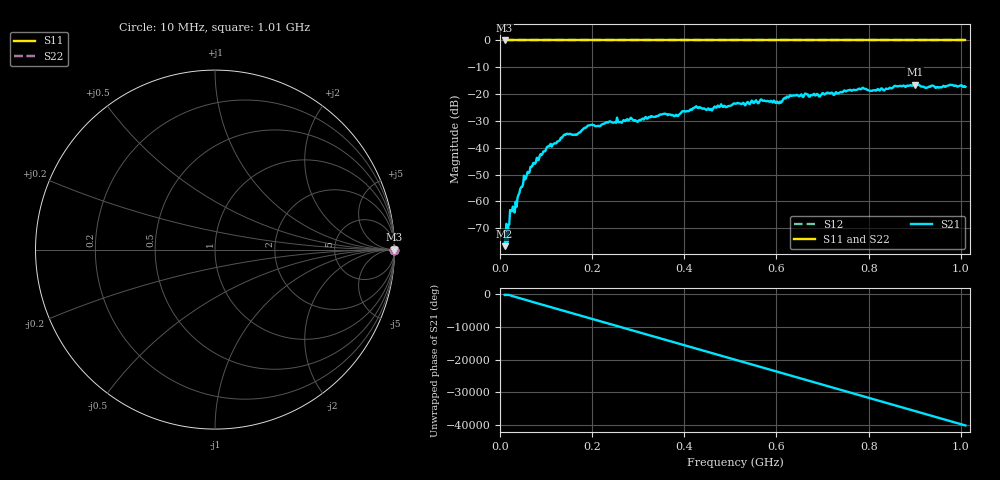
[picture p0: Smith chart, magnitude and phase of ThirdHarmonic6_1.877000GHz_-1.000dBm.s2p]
! 8/16/2025 10:41:01 PM
! C:\ANRITSUVNA\TEMP\TEMP.S2P
! CHANNEL.1
! TR.MEASUREMENT
! RAW.DATA
! RF.CORRECTION.OFF
! AVERAGING.OFF
! IF.BANDWIDTH: 5KHZ
! SWEEPTYPE:  FREQ.SWEEP(Linear)
! Reference Plane Port Info
! PORT:  PORT1  PORT2
! DISTANCE:  0  m  0  m
! TIME:  0  s  0  s
! PHASE.OFFSET:  0  deg.  0  deg.
! LOSS:  0  dB  0  dB
! REF.LOSS:  0  dB  0  dB
! REF.FREQ:  0  Hz  0  Hz
! Power Info
! POWER:  -20  dBm  -20  dBm
! EFF.POWER:  -20  dBm  -20  dBm
! SOURCE.ATTEN:  0  dB  0  dB
! TEST.ATTEN:  0  dB  0  dB
# GHZ S RI R 50.0
! FREQ.GHZ  S11RE  S11IM  S21RE  S21IM  S12RE  S12IM  S22RE  S22IM
!; PortSelection: Port_12
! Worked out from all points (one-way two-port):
!   501 points, 10 MHz to 1.01 GHz, reference 50 ohm
!   highest |S21| = -16.43 dB at 900 MHz (marker M1); lowest = -76.7 dB at 10 MHz (marker M2)
!   lowest |S11| = 0.0 dB at 10 MHz (marker M3)
!   |S11| at or under -10 dB: nowhere
!   |S22| runs from 0.0 to 0.0 dB; largest |S21 - S12| = 1.1
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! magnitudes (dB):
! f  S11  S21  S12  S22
! 10 MHz  0.0  -76.7  0.0  0.0
! 12 MHz  0.0  -72.1  0.0  0.0
! 26 MHz  0.0  -63.7  0.0  0.0
! 34 MHz  0.0  -60.1  0.0  0.0
! 48 MHz  0.0  -54.6  0.0  0.0
! 70 MHz  0.0  -46.9  0.0  0.0
! 106 MHz  0.0  -39.5  0.0  0.0
! 142 MHz  0.0  -35.2  0.0  0.0
! 178 MHz  0.0  -33.4  0.0  0.0
! 196 MHz  0.0  -31.5  0.0  0.0
! 344 MHz  0.0  -28.1  0.0  0.0
! 382 MHz  0.0  -27.7  0.0  0.0
! 424 MHz  0.0  -24.8  0.0  0.0
! 458 MHz  0.0  -25.5  0.0  0.0
! 510 MHz  0.0  -23.5  0.0  0.0
! 570 MHz  0.0  -22.5  0.0  0.0
! 602 MHz  0.0  -22.8  0.0  0.0
! 634 MHz  0.0  -20.6  0.0  0.0
! 678 MHz  0.0  -20.4  0.0  0.0
! 844 MHz  0.0  -17.9  0.0  0.0
! 900 MHz  0.0  -16.4  0.0  0.0
! 1.01 GHz  0.0  -17.3  0.0  0.0
